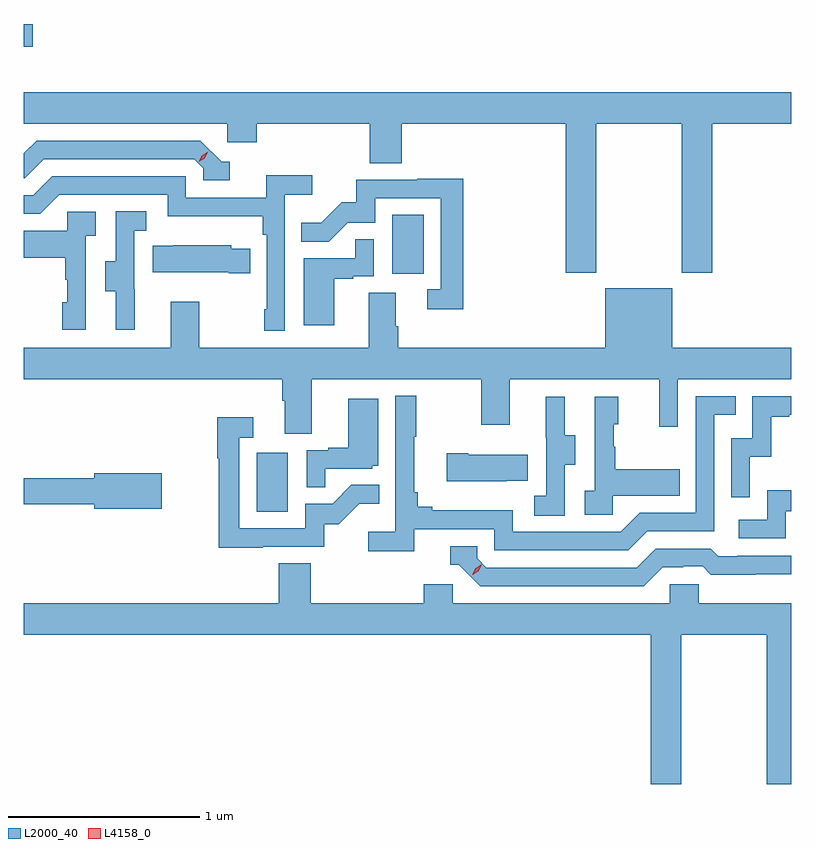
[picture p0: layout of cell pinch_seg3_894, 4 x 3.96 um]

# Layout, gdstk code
import gdstk
lib = gdstk.Library(unit=1e-6, precision=1e-09)
def R(c, l, rs):  # rectangles x0, y0, x1, y1
    for r in rs: c.add(gdstk.rectangle(r[:2], r[2:], *l))
def P(c, l, *ps):  # polygons
    for p in ps: c.add(gdstk.Polygon(p, *l))
L2000_40 = (2000, 40)
L4158_0 = (4158, 0)

pinch_seg3_894 = lib.new_cell('pinch_seg3_894')
R(pinch_seg3_894, L2000_40, [(868.394,704.22,868.558,704.527), (869.102,705.462,869.266,705.769), (867.181,706.644,867.227,706.763)])
P(pinch_seg3_894, L2000_40, [(870.165,706.244),(870.61,706.244),(870.61,705.465),(870.77,705.465),(870.77,706.244),(871.181,706.244),(871.181,706.408),(867.181,706.408),(867.181,706.244),(868.242,706.244),(868.242,706.146),(868.394,706.146),(868.394,706.244),(868.985,706.244),(868.985,706.036),(869.15,706.036),(869.15,706.244),(870.005,706.244),(870.005,705.465),(870.165,705.465)],
  [(868.255,706.044),(868.212,706.044),(868.101,706.155),(867.248,706.155),(867.181,706.088),(867.181,705.96),(867.186,705.96),(867.285,706.059),(868.068,706.059),(868.116,706.011),(868.116,705.948),(868.255,705.948)],
  [(868.542,705.872),(868.684,705.872),(868.684,705.974),(868.445,705.974),(868.445,705.858),(868.026,705.858),(868.026,705.969),(867.329,705.969),(867.23,705.87),(867.181,705.87),(867.181,705.774),(867.267,705.774),(867.366,705.873),(867.93,705.873),(867.93,705.761),(868.426,705.761),(868.426,705.665),(868.446,705.665),(868.446,705.277),(868.434,705.277),(868.434,705.165),(868.542,705.165)],
  [(869.471,705.956),(869.233,705.956),(869.233,705.951),(868.915,705.951),(868.915,705.834),(868.838,705.834),(868.731,705.727),(868.627,705.727),(868.627,705.628),(868.771,705.628),(868.869,705.726),(869.013,705.726),(869.013,705.855),(869.355,705.855),(869.355,705.381),(869.283,705.381),(869.283,705.276),(869.471,705.276)],
  [(867.758,705.381),(867.756,705.381),(867.756,705.685),(867.82,705.685),(867.82,705.788),(867.66,705.788),(867.66,705.525),(867.605,705.525),(867.605,705.37),(867.659,705.37),(867.659,705.168),(867.758,705.168)],
  [(867.504,705.659),(867.556,705.659),(867.556,705.783),(867.408,705.783),(867.408,705.685),(867.181,705.685),(867.181,705.545),(867.396,705.545),(867.396,705.431),(867.406,705.431),(867.406,705.312),(867.38,705.312),(867.38,705.168),(867.504,705.168)],
  [(868.798,705.435),(868.898,705.435),(868.898,705.447),(869.004,705.447),(869.004,705.641),(868.909,705.641),(868.909,705.543),(868.64,705.543),(868.64,705.192),(868.798,705.192)],
  [(868.361,705.592),(868.263,705.592),(868.263,705.61),(867.961,705.61),(867.961,705.607),(867.853,705.607),(867.853,705.47),(868.25,705.47),(868.25,705.463),(868.361,705.463)],
  [(868.681,704.912),(869.566,704.912),(869.566,704.673),(869.713,704.673),(869.713,704.912),(870.494,704.912),(870.494,704.664),(870.591,704.664),(870.591,704.912),(871.181,704.912),(871.181,705.076),(870.562,705.076),(870.562,705.385),(870.212,705.385),(870.212,705.076),(869.132,705.076),(869.132,705.188),(869.119,705.188),(869.119,705.362),(868.979,705.362),(868.979,705.076),(868.095,705.076),(868.095,705.316),(867.947,705.316),(867.947,705.076),(867.181,705.076),(867.181,704.912),(868.529,704.912),(868.529,704.8),(868.541,704.8),(868.541,704.626),(868.681,704.626)],
  [(869.216,704.13),(869.634,704.13),(869.634,704.019),(870.331,704.019),(870.43,704.118),(870.78,704.118),(870.78,704.727),(870.893,704.727),(870.893,704.823),(870.684,704.823),(870.684,704.214),(870.393,704.214),(870.294,704.115),(869.73,704.115),(869.73,704.227),(869.311,704.227),(869.311,704.246),(869.234,704.246),(869.234,704.323),(869.215,704.323),(869.215,704.611),(869.227,704.611),(869.227,704.824),(869.118,704.824),(869.118,704.116),(868.977,704.116),(868.977,704.014),(869.216,704.014)],
  [(870.966,704.507),(871.076,704.507),(871.076,704.715),(871.171,704.715),(871.171,704.727),(871.181,704.727),(871.181,704.823),(870.978,704.823),(870.978,704.604),(870.87,704.604),(870.87,704.295),(870.966,704.295)],
  [(870.252,704.303),(870.599,704.303),(870.599,704.443),(870.265,704.443),(870.265,704.558),(870.255,704.558),(870.255,704.676),(870.28,704.676),(870.28,704.821),(870.156,704.821),(870.156,704.33),(870.105,704.33),(870.105,704.205),(870.252,704.205)],
  [(870,704.464),(870.055,704.464),(870.055,704.619),(870.001,704.619),(870.001,704.821),(869.903,704.821),(869.903,704.607),(869.904,704.607),(869.904,704.303),(869.841,704.303),(869.841,704.2),(870,704.2)],
  [(868.751,704.445),(868.998,704.445),(868.998,704.46),(869.029,704.46),(869.029,704.809),(868.871,704.809),(868.871,704.554),(868.767,704.554),(868.767,704.541),(868.656,704.541),(868.656,704.347),(868.751,704.347)],
  [(868.427,704.037),(868.746,704.037),(868.746,704.154),(868.822,704.154),(868.929,704.261),(869.033,704.261),(869.033,704.36),(868.889,704.36),(868.791,704.262),(868.647,704.262),(868.647,704.133),(868.305,704.133),(868.305,704.607),(868.378,704.607),(868.378,704.713),(868.189,704.713),(868.189,704.5),(868.197,704.5),(868.197,704.032),(868.427,704.032)],
  [(869.699,704.381),(869.807,704.381),(869.807,704.518),(869.497,704.518),(869.497,704.526),(869.385,704.526),(869.385,704.378),(869.699,704.378)],
  [(867.901,704.42),(867.548,704.42),(867.548,704.396),(867.181,704.396),(867.181,704.26),(867.548,704.26),(867.548,704.237),(867.901,704.237)],
  [(871.152,704.223),(871.181,704.223),(871.181,704.332),(871.056,704.332),(871.056,704.178),(870.909,704.178),(870.909,704.082),(871.152,704.082)],
  [(870.511,703.932),(870.618,703.932),(870.618,703.935),(870.721,703.935),(870.763,703.893),(870.996,703.893),(870.996,703.895),(871.181,703.895),(871.181,703.992),(870.901,703.992),(870.901,703.989),(870.802,703.989),(870.763,704.028),(870.474,704.028),(870.375,703.929),(869.592,703.929),(869.544,703.977),(869.544,704.04),(869.405,704.04),(869.405,703.944),(869.448,703.944),(869.559,703.833),(870.412,703.833)],
  [(870.609,703.58),(871.054,703.58),(871.054,702.801),(871.181,702.801),(871.181,703.744),(870.699,703.744),(870.699,703.842),(870.549,703.842),(870.549,703.744),(869.418,703.744),(869.418,703.842),(869.267,703.842),(869.267,703.744),(868.676,703.744),(868.676,703.952),(868.511,703.952),(868.511,703.744),(867.181,703.744),(867.181,703.58),(870.449,703.58),(870.449,702.801),(870.609,702.801)])
P(pinch_seg3_894, L4158_0, [(868.093,706.044),(868.093,706.044),(868.109,706.077),(868.14,706.096),(868.14,706.096),(868.14,706.096),(868.124,706.063),(868.094,706.044)],
  [(869.519,703.892),(869.519,703.892),(869.536,703.925),(869.566,703.944),(869.567,703.944),(869.567,703.944),(869.55,703.911),(869.52,703.892)])

lib.write_gds('pinch_seg3_894.gds')
